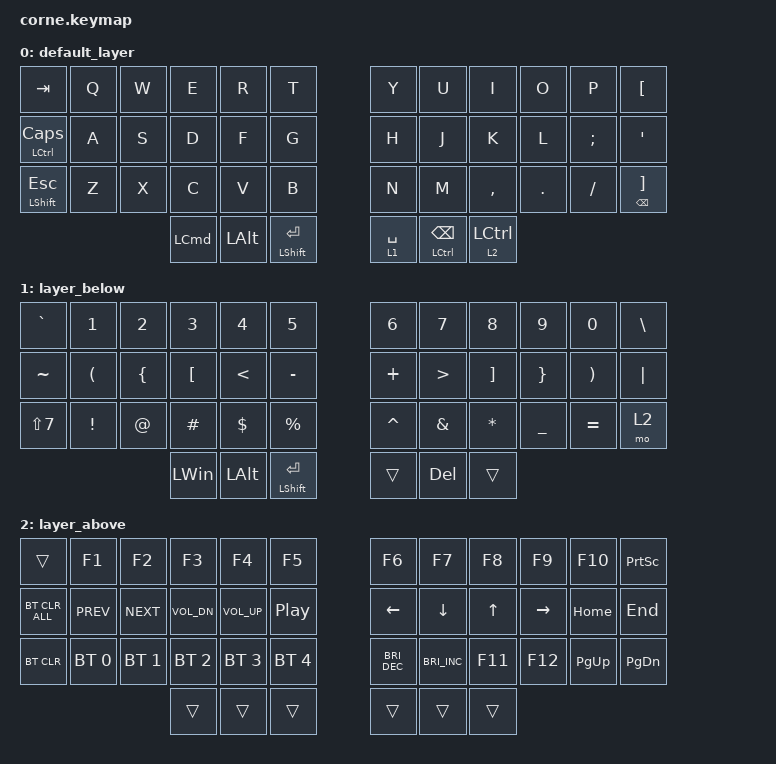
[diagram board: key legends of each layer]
/*
 * Copyright (c) 2020 The ZMK Contributors
 *
 * SPDX-License-Identifier: MIT
 */

#include <behaviors.dtsi>
#include <dt-bindings/zmk/bt.h>
#include <dt-bindings/zmk/keys.h>

/ {
    macros {
        tmux_prfx: tmux_prfx {
            compatible = "zmk,behavior-macro";
            #binding-cells = <0>;
            bindings =
                <&macro_press>,
                <&kp LCTRL>,
                <&macro_tap>,
                <&kp SPACE>,
                <&macro_release>,
                <&kp LCTRL>;

            label = "TMUX_PRFX";
        };

        screenshot_mac: screenshot_mac {
            compatible = "zmk,behavior-macro";
            #binding-cells = <0>;
            bindings =
                <&macro_press>,
                <&kp LCTRL &kp LEFT_SHIFT &kp LEFT_COMMAND>,
                <&macro_tap>,
                <&kp NUMBER_4>,
                <&macro_release>,
                <&kp LCTRL &kp LEFT_SHIFT &kp LEFT_META>;

            label = "SCREENSHOT_MAC";
        };
    };

    combos {
        compatible = "zmk,combos";

        combo_tmux {
            timeout-ms = <50>;
            key-positions = <14 15>;
            bindings = <&tmux_prfx>;
        };

        screenshot_mac {
            bindings = <&screenshot_mac>;
            key-positions = <10 11>;
        };
    };

    behaviors {
        cp_ctl: cp_ctl {
            compatible = "zmk,behavior-hold-tap";
            label = "CP_CTL";
            #binding-cells = <2>;
            tapping-term-ms = <175>;
            quick-tap-ms = <150>;
            flavor = "tap-preferred";
            bindings = <&kp>, <&kp>;
        };

        lt_spc: lt_spc {
            compatible = "zmk,behavior-hold-tap";
            label = "LT_SPC";
            #binding-cells = <2>;
            tapping-term-ms = <150>;
            flavor = "balanced";
            bindings = <&mo>, <&kp>;
        };

        en_shf: en_shf {
            compatible = "zmk,behavior-hold-tap";
            label = "EN_SHF";
            #binding-cells = <2>;
            tapping-term-ms = <175>;
            flavor = "hold-preferred";
            bindings = <&kp>, <&kp>;
        };
    };

    keymap {
        compatible = "zmk,keymap";

        default_layer {
            bindings = <
&kp TAB                 &kp Q  &kp W  &kp E     &kp R     &kp T                  &kp Y            &kp U                       &kp I            &kp O    &kp P     &kp LBKT
&cp_ctl LCTRL CAPSLOCK  &kp A  &kp S  &kp D     &kp F     &kp G                  &kp H            &kp J                       &kp K            &kp L    &kp SEMI  &kp SQT
&mt LEFT_SHIFT ESCAPE   &kp Z  &kp X  &kp C     &kp V     &kp B                  &kp N            &kp M                       &kp COMMA        &kp DOT  &kp FSLH  &mt BACKSPACE RIGHT_BRACKET
                                      &kp LCMD  &kp LALT  &en_shf LSHFT ENTER    &lt_spc 1 SPACE  &mt LEFT_CONTROL BACKSPACE  &lt_spc 2 LCTRL
            >;
        };

        layer_below {
            bindings = <
&kp GRAVE         &kp N1    &kp N2    &kp N3        &kp N4        &kp N5                  &kp N6     &kp N7    &kp N8    &kp N9     &kp N0     &kp BSLH
&kp TILDE         &kp LPAR  &kp LBRC  &kp LBKT      &kp LT        &kp MINUS               &kp PLUS   &kp GT    &kp RBKT  &kp RBRC   &kp RPAR   &kp PIPE
&kp LS(NUMBER_7)  &kp EXCL  &kp AT    &kp HASH      &kp DLLR      &kp PRCNT               &kp CARET  &kp AMPS  &kp STAR  &kp UNDER  &kp EQUAL  &mo 2
                                      &kp LEFT_WIN  &kp LEFT_ALT  &mt LEFT_SHIFT ENTER    &trans     &kp DEL   &trans
            >;
        };

        layer_above {
            bindings = <
&trans          &kp F1        &kp F2        &kp F3        &kp F4        &kp F5          &kp F6                &kp F7                &kp F8   &kp F9     &kp F10      &kp PRINTSCREEN
&bt BT_CLR_ALL  &kp C_PREV    &kp C_NEXT    &kp C_VOL_DN  &kp C_VOL_UP  &kp C_PP        &kp LEFT              &kp DOWN              &kp UP   &kp RIGHT  &kp HOME     &kp END
&bt BT_CLR      &bt BT_SEL 0  &bt BT_SEL 1  &bt BT_SEL 2  &bt BT_SEL 3  &bt BT_SEL 4    &kp C_BRIGHTNESS_DEC  &kp C_BRIGHTNESS_INC  &kp F11  &kp F12    &kp PAGE_UP  &kp PAGE_DOWN
                                            &trans        &trans        &trans          &trans                &trans                &trans
            >;
        };
    };
};
